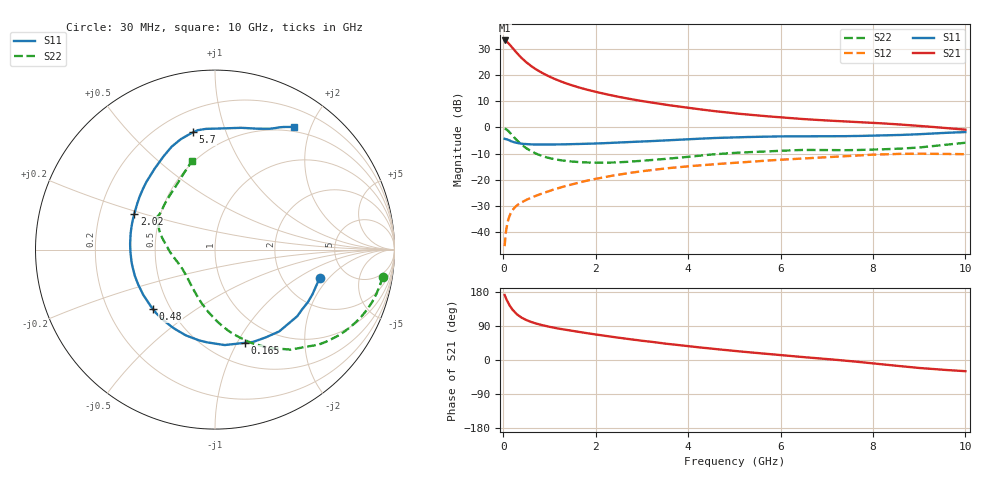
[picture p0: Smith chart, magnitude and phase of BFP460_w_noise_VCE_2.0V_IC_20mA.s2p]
! (c) 2016  Infineon Technologies AG, Munich
! Infineon Technologies  Discrete & RF Semiconductors
! BFP460
! VCE =  2.0 V,  IC =  20 mA
! Common Emitter S-Parameters:  Jan 2016
# GHz  S  MA  R  50
!  f  S11  S21  S12  S22
! GHz  MAG  ANG  MAG  ANG  MAG  ANG  MAG  ANG
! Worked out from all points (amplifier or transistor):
!   229 points, 30 MHz to 10 GHz, reference 50 ohm
!   highest |S21| = 33.2 dB at 30 MHz (marker M1)
!   |S21| within 3 dB of that: start of sweep to 208.5 MHz
!   unconditionally stable (mu >= 1): 1.775 GHz to 7.922 GHz
!   at 280 MHz: K = 0.42, MSG = 29.4 dB, |S12| = -30.1 dB
!   at 1.78 GHz: K = 1.00, MAG = 17.4 dB, |S12| = -20.5 dB
!   at 10 GHz: K = 0.98, MSG = 4.7 dB, |S12| = -10.2 dB
!   lowest NFmin = 1.24 dB at 450 MHz
!   S11 on the Smith chart (normalised r, x): 30 MHz: 3.21, -1.58; 165 MHz: 0.73, -1.07; 480 MHz: 0.40, -0.35; 2.02 GHz: 0.35, +0.19; 5.7 GHz: 0.33, +0.77; 10 GHz: 0.44, +1.75
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0.03  0.6044 -15.0  45.45 171.6  0.0054 85.3  0.946 -9.2
0.05  0.5975 -24.7  44.41 165.2  0.0086 80.3  0.9322 -15.5
0.09  0.5828 -43.6  42.08 154.9  0.0146 72.9  0.8821 -27.4
0.135  0.562 -61.9  38.33 144.7  0.0202 66.1  0.808 -39.1
0.165  0.5452 -72.4  35.64 139.2  0.0231 62.7  0.7548 -45.4
0.2  0.5346 -84.2  32.85 132.8  0.0263 59.5  0.6988 -52.9
0.24  0.5186 -94.9  29.81 127.3  0.029 56.8  0.6382 -59.5
0.3  0.5049 -108.7  25.91 120.2  0.0326 54.1  0.5612 -68.4
0.4  0.4871 -125.8  20.95 111.6  0.0372 52.1  0.4651 -79.8
0.48  0.4789 -136.0  18.07 106.6  0.0405 51.8  0.4106 -86.8
0.6  0.4727 -147.8  14.86 100.5  0.0452 52.1  0.3518 -95.7
0.7  0.4701 -155.5  12.93 96.6  0.049 52.6  0.3177 -102.0
0.9  0.4697 -167.2  10.24 90.2  0.057 53.8  0.2733 -112.1
1.2  0.4719 -180.0  7.79 82.8  0.0695 54.7  0.2384 -123.9
1.7  0.4825 164.4  5.565 72.8  0.0911 54.2  0.2156 -138.2
2.02  0.4919 156.1  4.711 67.0  0.105 52.8  0.2114 -145.9
3.4  0.5563 128.4  2.797 45.0  0.1601 42.9  0.2452 -174.7
5.1  0.6471 106.1  1.816 22.8  0.2133 30.6  0.3292 160.6
5.7  0.6644 100.6  1.628 16.2  0.232 26.2  0.3482 155.5
6.8  0.6735 91.5  1.384 4.7  0.2631 18.4  0.3686 149.3
8.4  0.7066 72.7  1.161 -13.9  0.3092 4.2  0.3859 133.5
10  0.8119 57.3  0.902 -29.5  0.3076 -8.3  0.5079 104.8
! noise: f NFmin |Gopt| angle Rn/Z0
0.45  1.24  0.07  -176  0.13
0.9  1.26  0.04  175  0.15
1.9  1.38  0.18  -150  0.12
3.5  1.34  0.41  -125  0.15
